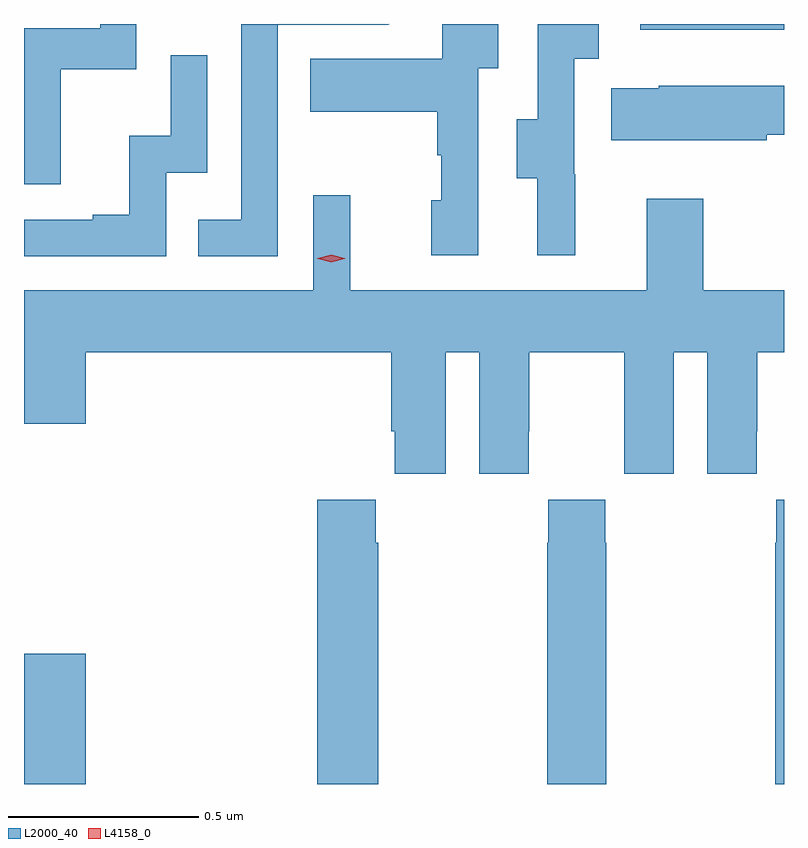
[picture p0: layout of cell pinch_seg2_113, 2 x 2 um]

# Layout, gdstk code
import gdstk
lib = gdstk.Library(unit=1e-6, precision=1e-09)
def R(c, l, rs):  # rectangles x0, y0, x1, y1
    for r in rs: c.add(gdstk.rectangle(r[:2], r[2:], *l))
def P(c, l, *ps):  # polygons
    for p in ps: c.add(gdstk.Polygon(p, *l))
L2000_40 = (2000, 40)
L4158_0 = (4158, 0)

pinch_seg2_113 = lib.new_cell('pinch_seg2_113')
R(pinch_seg2_113, L2000_40, [(1028.146,639.84,1028.308,640.183), (1029.768,641.825,1030.146,641.84)])
P(pinch_seg2_113, L2000_40, [(1029.596,641.445),(1029.594,641.445),(1029.594,641.749),(1029.658,641.749),(1029.658,641.84),(1029.498,641.84),(1029.498,641.589),(1029.443,641.589),(1029.443,641.434),(1029.497,641.434),(1029.497,641.232),(1029.596,641.232)],
  [(1028.814,641.838),(1029.105,641.838),(1029.107,641.84),(1028.718,641.84),(1028.718,641.325),(1028.605,641.325),(1028.605,641.229),(1028.814,641.229)],
  [(1028.243,641.721),(1028.442,641.721),(1028.442,641.84),(1028.346,641.84),(1028.346,641.829),(1028.146,641.829),(1028.146,641.418),(1028.243,641.418)],
  [(1029.342,641.723),(1029.394,641.723),(1029.394,641.84),(1029.246,641.84),(1029.246,641.749),(1028.899,641.749),(1028.899,641.609),(1029.234,641.609),(1029.234,641.495),(1029.244,641.495),(1029.244,641.376),(1029.218,641.376),(1029.218,641.232),(1029.342,641.232)],
  [(1028.52,641.448),(1028.628,641.448),(1028.628,641.758),(1028.532,641.758),(1028.532,641.546),(1028.423,641.546),(1028.423,641.338),(1028.327,641.338),(1028.327,641.325),(1028.146,641.325),(1028.146,641.229),(1028.52,641.229)],
  [(1030.101,641.548),(1030.146,641.548),(1030.146,641.677),(1029.816,641.677),(1029.816,641.671),(1029.691,641.671),(1029.691,641.534),(1030.101,641.534)],
  [(1029.256,640.976),(1029.344,640.976),(1029.344,640.656),(1029.474,640.656),(1029.474,640.768),(1029.475,640.768),(1029.475,640.976),(1029.725,640.976),(1029.725,640.768),(1029.726,640.768),(1029.726,640.656),(1029.856,640.656),(1029.856,640.976),(1029.944,640.976),(1029.944,640.656),(1030.074,640.656),(1030.074,640.768),(1030.075,640.768),(1030.075,640.976),(1030.146,640.976),(1030.146,641.14),(1029.933,641.14),(1029.933,641.38),(1029.785,641.38),(1029.785,641.14),(1029.005,641.14),(1029.005,641.389),(1028.907,641.389),(1028.907,641.14),(1028.146,641.14),(1028.146,640.788),(1028.308,640.788),(1028.308,640.976),(1029.113,640.976),(1029.113,640.768),(1029.122,640.768),(1029.122,640.656),(1029.256,640.656)],
  [(1029.078,640.475),(1029.071,640.475),(1029.071,640.588),(1028.918,640.588),(1028.918,639.84),(1029.078,639.84)],
  [(1030.146,640.588),(1030.125,640.588),(1030.125,640.475),(1030.123,640.475),(1030.123,639.84),(1030.146,639.84)],
  [(1029.678,640.475),(1029.675,640.475),(1029.675,640.588),(1029.525,640.588),(1029.525,640.475),(1029.523,640.475),(1029.523,639.84),(1029.678,639.84)])
P(pinch_seg2_113, L4158_0, [(1028.954,641.213),(1028.919,641.222),(1028.918,641.223),(1028.919,641.223),(1028.954,641.233),(1028.99,641.223),(1028.99,641.223),(1028.99,641.222)])

lib.write_gds('pinch_seg2_113.gds')
